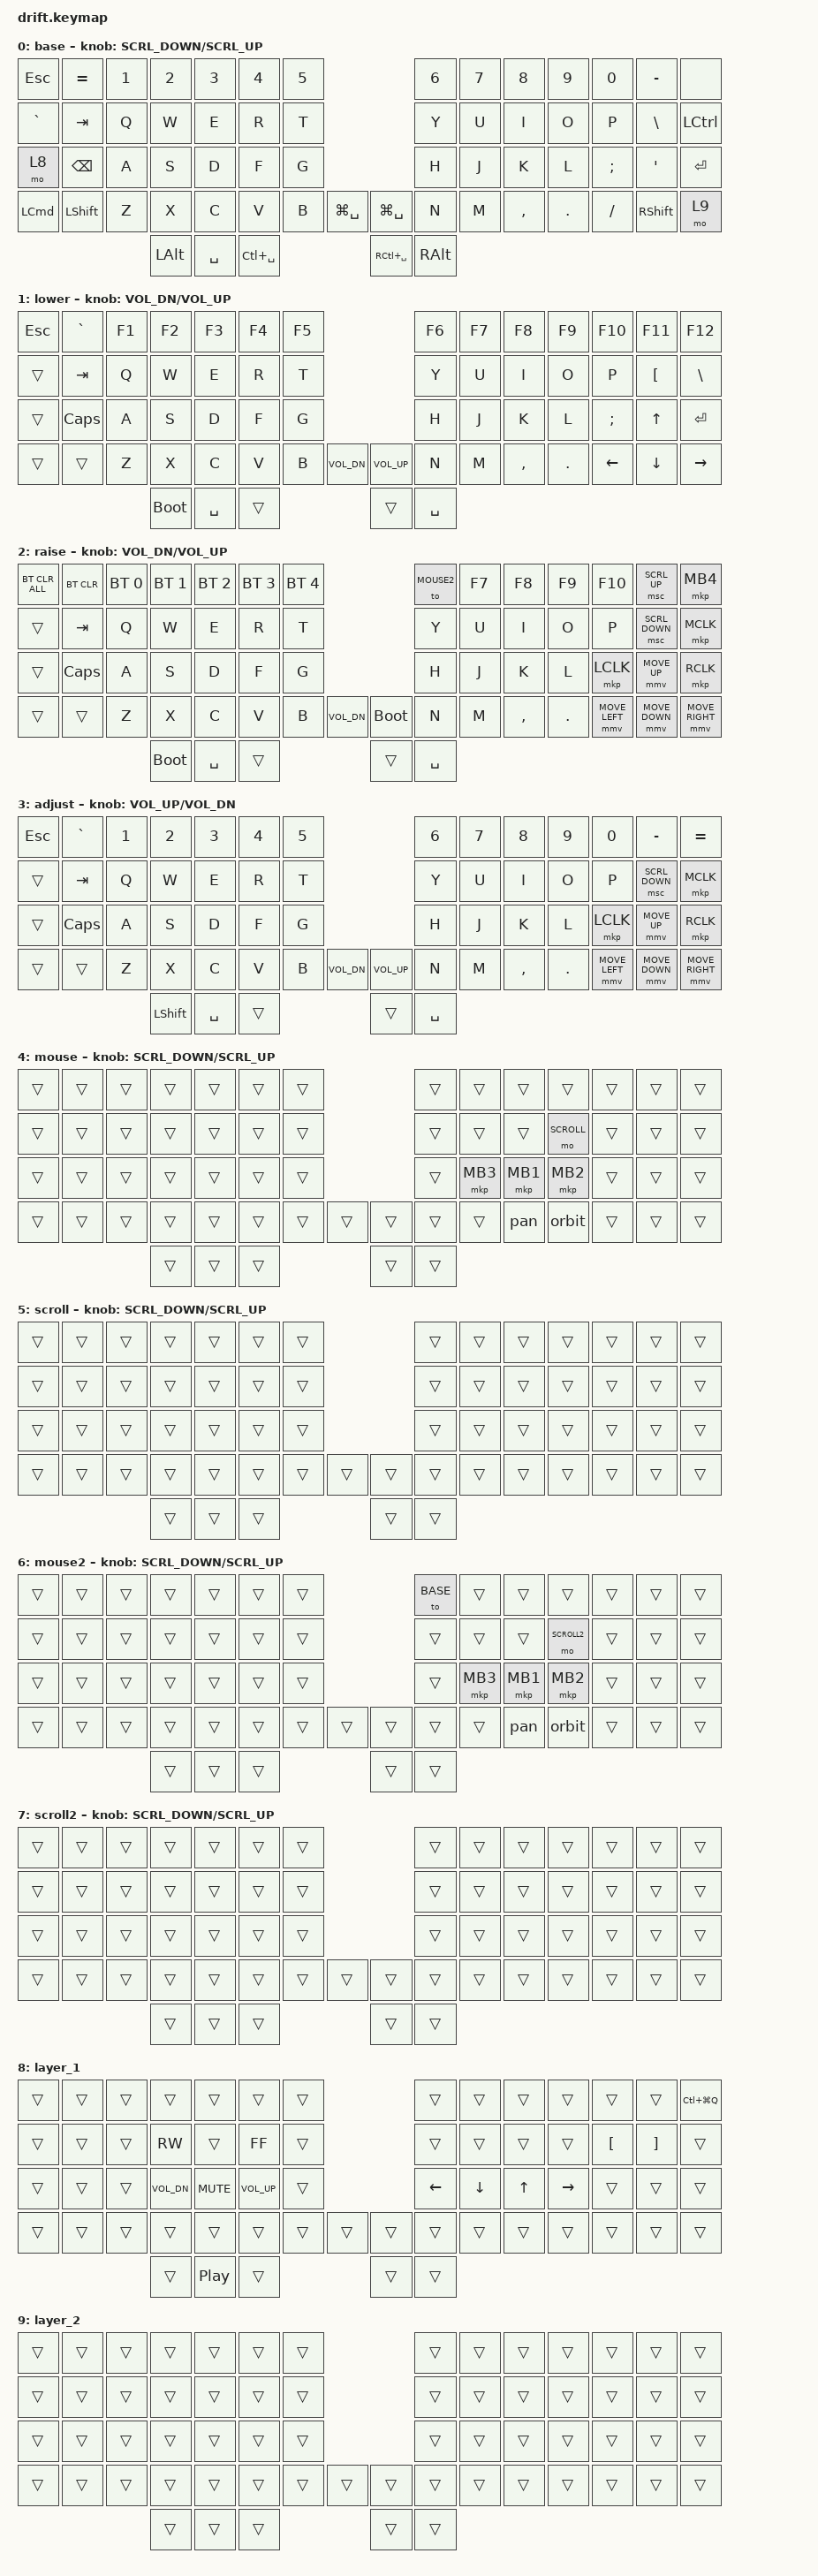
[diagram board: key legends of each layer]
// Copyright (c) 2025 The ZMK Contributors
// SPDX-License-Identifier: MIT
// Default scroll sensitivity for encoder-based scrolling

#define ZMK_POINTING_DEFAULT_SCRL_VAL 100    // default was 10

#include <input/processors.dtsi>
#include <dt-bindings/zmk/mouse.h>
#include <behaviors/mouse_keys.dtsi>
#include <dt-bindings/zmk/input_transform.h>
#include <zephyr/dt-bindings/input/input-event-codes.h>
#include <behaviors.dtsi>
#include <dt-bindings/zmk/bt.h>
#include <dt-bindings/zmk/keys.h>
#include <dt-bindings/zmk/pointing.h>

// Keep all behavior settings visible in ZMK Studio

#define ZMK_BEHAVIORS_OMIT_KT

// Layer indices

#define BASE    0
#define LOWER   1
#define RAISE   2
#define ADJUST  3
#define MOUSE   4
#define SCROLL  5
#define MOUSE2  6
#define SCROLL2 7

// Reference: https://zmk.dev/docs/keymaps/behaviors/

/ {
    conditional_layers {
        compatible = "zmk,conditional-layers";

        tri_layer {
            if-layers = <LOWER RAISE>;
            then-layer = <ADJUST>;
        };
    };

    behaviors {
        enc_scroll: enc_scroller {
            compatible = "zmk,behavior-sensor-rotate-var";
            #sensor-binding-cells = <2>;
            bindings = <&msc>, <&msc>;

            tap-ms = <20>;
        };

        /* Setup left and right */

        kpad: key_lip_a_d {
            compatible = "zmk,behavior-key-press-lip";
            #binding-cells = <1>;
            keycodes = <A D>;
        };

        /* Setup up and down */

        kpws: key_lip_w_s {
            compatible = "zmk,behavior-key-press-lip";
            #binding-cells = <1>;
            keycodes = <W S>;
        };
    };

    macros {
        orbit: orbit {
            compatible = "zmk,behavior-macro";
            #binding-cells = <0>;
            bindings =
                <&macro_press>,
                <&kp LSHIFT &mkp MCLK>,
                <&macro_pause_for_release>,
                <&macro_release>,
                <&kp LSHIFT &mkp MCLK>;
        };

        pan: pan {
            compatible = "zmk,behavior-macro";
            #binding-cells = <0>;
            bindings =
                <&macro_press>,
                <&mkp MCLK>,
                <&macro_pause_for_release>,
                <&macro_release>,
                <&mkp MCLK>;
        };
    };

    keymap {
        compatible = "zmk,keymap";

        // -------------------------------------------------------------------------------
        // BASE Layer
        // -------------------------------------------------------------------------------
        // | ESC | ` | 1 | 2 |  3  |  4  |  5  |         |  6  |  7  | 8 | 9 | 0 | -  | = |
        // |COPY |TAB| Q | W |  E  |  R  |  T  |         |  Y  |  U  | I | O | P | [  | ] |
        // | GUI |CAP| A | S |  D  |  F  |  G  |         |  H  |  J  | K | L | ; | '  |ENT|
        // | CTL |ALT| Z | X |  C  |  V  |  B  |Paste| \ |  N  |  M  | , | . | / |Bspc|Del|
        //                   |Shift|Space|Lower|         |Raise|Space|

        default_layer {
            display-name = "base";
            bindings = <
&kp ESC    &kp EQUAL       &kp N1  &kp N2        &kp N3     &kp N4         &kp N5                                &kp N6         &kp N7  &kp N8     &kp N9   &kp N0    &kp MINUS      &none
&kp GRAVE  &kp TAB         &kp Q   &kp W         &kp E      &kp R          &kp T                                 &kp Y          &kp U   &kp I      &kp O    &kp P     &kp BACKSLASH  &kp LEFT_CONTROL
&mo 8      &kp BACKSPACE   &kp A   &kp S         &kp D      &kp F          &kp G                                 &kp H          &kp J   &kp K      &kp L    &kp SEMI  &kp SQT        &kp ENTER
&kp LCMD   &kp LEFT_SHIFT  &kp Z   &kp X         &kp C      &kp V          &kp B   &kp LG(SPACE)  &kp LG(SPACE)  &kp N          &kp M   &kp COMMA  &kp DOT  &kp FSLH  &kp RSHIFT     &mo 9
                                   &kp LEFT_ALT  &kp SPACE  &kp LC(SPACE)                         &kp RC(SPACE)  &kp RIGHT_ALT
            >;

            sensor-bindings = <&enc_scroll SCRL_DOWN SCRL_UP>;
        };

        // ------------------------------------------------------------------------
        // LOWER Layer
        // ------------------------------------------------------------------------
        // |Esc | ` |F1 |F2 |F3  | F4  |F5 |         |F6 |  F7 | F8 |F9 |F10|F11|F12|
        // |    |TAB| Q | W | E  |  R  | T |         | Y |  U  | I  | O | P | [ | \ |
        // |GUI |CAP| A | S | D  |  F  | G |         | H |  J  | K  | L | ; | ↑ |Ent|
        // |CTL |ALT| Z | X | C  |  V  | B |Vol-|Vol+| N |  M  | ,  | . | ← | ↓ | → |
        //                  |Boot|Space|   |         |   |Space|

        lower_layer {
            display-name = "lower";
            bindings = <
&kp ESC  &kp GRAVE  &kp F1  &kp F2       &kp F3     &kp F4  &kp F5                              &kp F6     &kp F7  &kp F8     &kp F9   &kp F10         &kp F11         &kp F12
&trans   &kp TAB    &kp Q   &kp W        &kp E      &kp R   &kp T                               &kp Y      &kp U   &kp I      &kp O    &kp P           &kp LBKT        &kp BACKSLASH
&trans   &kp CAPS   &kp A   &kp S        &kp D      &kp F   &kp G                               &kp H      &kp J   &kp K      &kp L    &kp SEMI        &kp UP_ARROW    &kp ENTER
&trans   &trans     &kp Z   &kp X        &kp C      &kp V   &kp B   &kp C_VOL_DN  &kp C_VOL_UP  &kp N      &kp M   &kp COMMA  &kp DOT  &kp LEFT_ARROW  &kp DOWN_ARROW  &kp RIGHT_ARROW
                            &bootloader  &kp SPACE  &trans                        &trans        &kp SPACE
            >;

            sensor-bindings = <&inc_dec_kp C_VOL_DN C_VOL_UP>;
        };

        // ---------------------------------------------------------------------------
        // RAISE Layer
        // ---------------------------------------------------------------------------
        // |ClrAll|Clr|BT1|BT2|BT3 | BT4 |BT5|         |M2 | F7  |F8 |F9 |F10 |Scr↑|MB4 |
        // |      |TAB| Q | W | E  |  R  | T |         | Y |  U  | I | O | P  |Scr↓|MClk|
        // | GUI  |CAP| A | S | D  |  F  | G |         | H |  J  | K | L |LClk| ↑  |RClk|
        // | CTL  |ALT| Z | X | C  |  V  | B |Vol-|Boot| N |  M  | , | . | ←  | ↓  | →  |
        //                    |Boot|Space|   |         |   |Space|

        raise_layer {
            display-name = "raise";
            bindings = <
&bt BT_CLR_ALL  &bt BT_CLR  &bt BT_SEL 0  &bt BT_SEL 1  &bt BT_SEL 2  &bt BT_SEL 3  &bt BT_SEL 4                             &to MOUSE2  &kp F7  &kp F8     &kp F9   &kp F10         &msc SCRL_UP    &mkp MB4
&trans          &kp TAB     &kp Q         &kp W         &kp E         &kp R         &kp T                                    &kp Y       &kp U   &kp I      &kp O    &kp P           &msc SCRL_DOWN  &mkp MCLK
&trans          &kp CAPS    &kp A         &kp S         &kp D         &kp F         &kp G                                    &kp H       &kp J   &kp K      &kp L    &mkp LCLK       &mmv MOVE_UP    &mkp RCLK
&trans          &trans      &kp Z         &kp X         &kp C         &kp V         &kp B         &kp C_VOL_DN  &bootloader  &kp N       &kp M   &kp COMMA  &kp DOT  &mmv MOVE_LEFT  &mmv MOVE_DOWN  &mmv MOVE_RIGHT
                                          &bootloader   &kp SPACE     &trans                                    &trans       &kp SPACE
            >;

            sensor-bindings = <&inc_dec_kp C_VOL_DN C_VOL_UP>;
        };

        // ---------------------------------------------------------------------
        // ADJUST Layer
        // ---------------------------------------------------------------------
        // (similar layout as RAISE, but with slightly different mods)

        adjust_layer {
            display-name = "adjust";
            bindings = <
&kp ESC  &kp GRAVE  &kp N1  &kp N2     &kp N3     &kp N4  &kp N5                              &kp N6     &kp N7  &kp N8     &kp N9   &kp N0          &kp MINUS       &kp EQUAL
&trans   &kp TAB    &kp Q   &kp W      &kp E      &kp R   &kp T                               &kp Y      &kp U   &kp I      &kp O    &kp P           &msc SCRL_DOWN  &mkp MCLK
&trans   &kp CAPS   &kp A   &kp S      &kp D      &kp F   &kp G                               &kp H      &kp J   &kp K      &kp L    &mkp LCLK       &mmv MOVE_UP    &mkp RCLK
&trans   &trans     &kp Z   &kp X      &kp C      &kp V   &kp B   &kp C_VOL_DN  &kp C_VOL_UP  &kp N      &kp M   &kp COMMA  &kp DOT  &mmv MOVE_LEFT  &mmv MOVE_DOWN  &mmv MOVE_RIGHT
                            &kp LSHFT  &kp SPACE  &trans                        &trans        &kp SPACE
            >;

            sensor-bindings = <&inc_dec_kp C_VOL_UP C_VOL_DN>;
        };

        // ---------------------------------------------------------------------
        // MOUSE Layer
        // ---------------------------------------------------------------------
        // Mostly for orbit/pan macros + mouse buttons

        mouse_layer {
            display-name = "mouse";
            bindings = <
&trans  &trans  &trans  &trans  &trans  &trans  &trans                  &trans  &trans    &trans    &trans      &trans  &trans  &trans
&trans  &trans  &trans  &trans  &trans  &trans  &trans                  &trans  &trans    &trans    &mo SCROLL  &trans  &trans  &trans
&trans  &trans  &trans  &trans  &trans  &trans  &trans                  &trans  &mkp MB3  &mkp MB1  &mkp MB2    &trans  &trans  &trans
&trans  &trans  &trans  &trans  &trans  &trans  &trans  &trans  &trans  &trans  &trans    &pan      &orbit      &trans  &trans  &trans
                        &trans  &trans  &trans                  &trans  &trans
            >;

            sensor-bindings = <&enc_scroll SCRL_DOWN SCRL_UP>;
        };

        // SCROLL / MOUSE2  layers remain mostly transparent and is used for when you want to turn mouse mode on indefinitely (activated on RAISE Layer - "&to MOUSE2")

        scroll_layer {
            display-name = "scroll";
            bindings = <
&trans  &trans  &trans  &trans  &trans  &trans  &trans                  &trans  &trans  &trans  &trans  &trans  &trans  &trans
&trans  &trans  &trans  &trans  &trans  &trans  &trans                  &trans  &trans  &trans  &trans  &trans  &trans  &trans
&trans  &trans  &trans  &trans  &trans  &trans  &trans                  &trans  &trans  &trans  &trans  &trans  &trans  &trans
&trans  &trans  &trans  &trans  &trans  &trans  &trans  &trans  &trans  &trans  &trans  &trans  &trans  &trans  &trans  &trans
                        &trans  &trans  &trans                  &trans  &trans
            >;

            sensor-bindings = <&enc_scroll SCRL_DOWN SCRL_UP>;
        };

        mouse2_layer {
            display-name = "mouse2";
            bindings = <
&trans  &trans  &trans  &trans  &trans  &trans  &trans                  &to BASE  &trans    &trans    &trans       &trans  &trans  &trans
&trans  &trans  &trans  &trans  &trans  &trans  &trans                  &trans    &trans    &trans    &mo SCROLL2  &trans  &trans  &trans
&trans  &trans  &trans  &trans  &trans  &trans  &trans                  &trans    &mkp MB3  &mkp MB1  &mkp MB2     &trans  &trans  &trans
&trans  &trans  &trans  &trans  &trans  &trans  &trans  &trans  &trans  &trans    &trans    &pan      &orbit       &trans  &trans  &trans
                        &trans  &trans  &trans                  &trans  &trans
            >;

            sensor-bindings = <&enc_scroll SCRL_DOWN SCRL_UP>;
        };

        scroll2_layer {
            display-name = "scroll2";
            bindings = <
&trans  &trans  &trans  &trans  &trans  &trans  &trans                  &trans  &trans  &trans  &trans  &trans  &trans  &trans
&trans  &trans  &trans  &trans  &trans  &trans  &trans                  &trans  &trans  &trans  &trans  &trans  &trans  &trans
&trans  &trans  &trans  &trans  &trans  &trans  &trans                  &trans  &trans  &trans  &trans  &trans  &trans  &trans
&trans  &trans  &trans  &trans  &trans  &trans  &trans  &trans  &trans  &trans  &trans  &trans  &trans  &trans  &trans  &trans
                        &trans  &trans  &trans                  &trans  &trans
            >;

            sensor-bindings = <&enc_scroll SCRL_DOWN SCRL_UP>;
        };

        layer_1 {
            bindings = <
&trans  &trans  &trans  &trans        &trans      &trans        &trans                  &trans          &trans          &trans        &trans           &trans    &trans    &kp LC(LG(Q))
&trans  &trans  &trans  &kp C_RW      &trans      &kp C_FF      &trans                  &trans          &trans          &trans        &trans           &kp LBKT  &kp RBKT  &trans
&trans  &trans  &trans  &kp C_VOL_DN  &kp K_MUTE  &kp C_VOL_UP  &trans                  &kp LEFT_ARROW  &kp DOWN_ARROW  &kp UP_ARROW  &kp RIGHT_ARROW  &trans    &trans    &trans
&trans  &trans  &trans  &trans        &trans      &trans        &trans  &trans  &trans  &trans          &trans          &trans        &trans           &trans    &trans    &trans
                        &trans        &kp C_PP    &trans                        &trans  &trans
            >;
        };

        layer_2 {
            bindings = <
&trans  &trans  &trans  &trans  &trans  &trans  &trans                  &trans  &trans  &trans  &trans  &trans  &trans  &trans
&trans  &trans  &trans  &trans  &trans  &trans  &trans                  &trans  &trans  &trans  &trans  &trans  &trans  &trans
&trans  &trans  &trans  &trans  &trans  &trans  &trans                  &trans  &trans  &trans  &trans  &trans  &trans  &trans
&trans  &trans  &trans  &trans  &trans  &trans  &trans  &trans  &trans  &trans  &trans  &trans  &trans  &trans  &trans  &trans
                        &trans  &trans  &trans                  &trans  &trans
            >;
        };
    };
};
